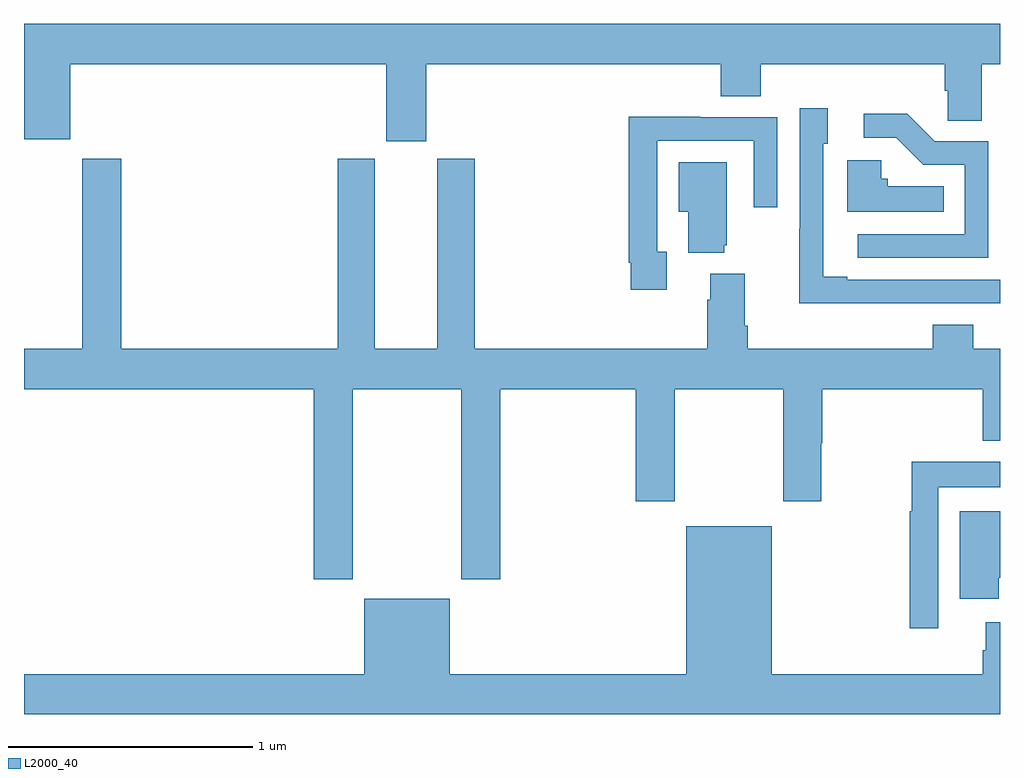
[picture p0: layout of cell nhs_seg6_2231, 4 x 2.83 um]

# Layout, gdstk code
import gdstk
lib = gdstk.Library(unit=1e-6, precision=1e-09)
def P(c, l, *ps):  # polygons
    for p in ps: c.add(gdstk.Polygon(p, *l))
L2000_40 = (2000, 40)

nhs_seg6_2231 = lib.new_cell('nhs_seg6_2231')
P(nhs_seg6_2231, L2000_40, [(244.648,984.632),(245.855,984.632),(245.855,984.499),(246.02,984.499),(246.02,984.632),(246.773,984.632),(246.773,984.523),(246.786,984.523),(246.786,984.4),(246.925,984.4),(246.925,984.632),(247,984.632),(247,984.796),(243,984.796),(243,984.323),(243.19,984.323),(243.19,984.632),(244.484,984.632),(244.484,984.315),(244.648,984.315)],
  [(246.641,983.652),(247,983.652),(247,983.748),(246.373,983.748),(246.373,983.761),(246.276,983.761),(246.276,984.306),(246.295,984.306),(246.295,984.451),(246.18,984.451),(246.18,983.957),(246.178,983.957),(246.178,983.651),(246.641,983.651)],
  [(246.951,984.315),(246.732,984.315),(246.619,984.428),(246.441,984.428),(246.441,984.33),(246.575,984.33),(246.686,984.219),(246.855,984.219),(246.855,983.934),(246.417,983.934),(246.417,983.838),(246.951,983.838)],
  [(245.635,983.862),(245.595,983.862),(245.595,984.318),(245.991,984.318),(245.991,984.045),(246.087,984.045),(246.087,984.414),(245.771,984.414),(245.771,984.416),(245.479,984.416),(245.479,983.818),(245.487,983.818),(245.487,983.706),(245.635,983.706)],
  [(244.347,983.3),(244.792,983.3),(244.792,982.521),(244.952,982.521),(244.952,983.3),(245.507,983.3),(245.507,982.839),(245.667,982.839),(245.667,983.3),(246.112,983.3),(246.112,982.839),(246.267,982.839),(246.267,983.078),(246.272,983.078),(246.272,983.3),(246.929,983.3),(246.929,983.087),(247,983.087),(247,983.464),(246.89,983.464),(246.89,983.563),(246.725,983.563),(246.725,983.464),(245.966,983.464),(245.966,983.56),(245.953,983.56),(245.953,983.773),(245.813,983.773),(245.813,983.666),(245.801,983.666),(245.801,983.464),(244.847,983.464),(244.847,984.243),(244.694,984.243),(244.694,983.464),(244.438,983.464),(244.438,984.243),(244.286,984.243),(244.286,983.464),(243.398,983.464),(243.398,984.244),(243.238,984.244),(243.238,983.464),(243,983.464),(243,983.3),(244.187,983.3),(244.187,982.521),(244.347,982.521)],
  [(246.77,984.13),(246.54,984.13),(246.54,984.162),(246.513,984.162),(246.513,984.238),(246.374,984.238),(246.374,984.026),(246.77,984.026)],
  [(245.87,983.889),(245.881,983.889),(245.881,984.229),(245.684,984.229),(245.684,984.026),(245.723,984.026),(245.723,983.858),(245.87,983.858)],
  [(246.747,982.898),(247,982.898),(247,983.002),(246.639,983.002),(246.639,982.798),(246.631,982.798),(246.631,982.32),(246.747,982.32)],
  [(246.994,982.526),(247,982.526),(247,982.798),(246.836,982.798),(246.836,982.44),(246.994,982.44)],
  [(247,982.345),(246.941,982.345),(246.941,982.23),(246.929,982.23),(246.929,982.132),(246.064,982.132),(246.064,982.738),(245.714,982.738),(245.714,982.132),(244.744,982.132),(244.744,982.441),(244.394,982.441),(244.394,982.132),(243,982.132),(243,981.968),(247,981.968)])

lib.write_gds('nhs_seg6_2231.gds')
